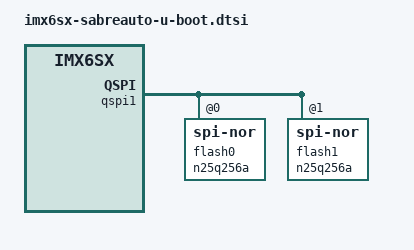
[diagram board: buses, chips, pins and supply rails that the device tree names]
// SPDX-License-Identifier: GPL-2.0+
/*
 * Copyright 2018 NXP
 */

&qspi1 {
	num-cs = <2>;

	flash0: n25q256a@0 {
		compatible = "jedec,spi-nor";
	};

	flash1: n25q256a@1 {
		compatible = "jedec,spi-nor";
	};
};
